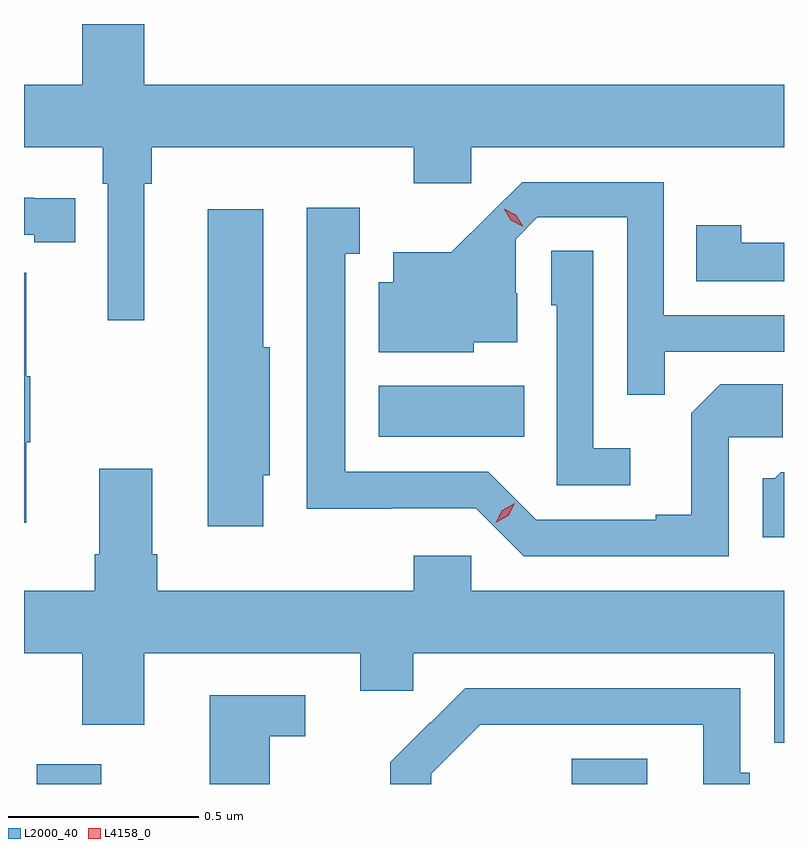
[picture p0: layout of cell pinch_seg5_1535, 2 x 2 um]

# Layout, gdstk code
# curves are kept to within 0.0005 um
import gdstk
lib = gdstk.Library(unit=1e-6, precision=1e-09)
def R(c, l, rs):  # rectangles x0, y0, x1, y1
    for r in rs: c.add(gdstk.rectangle(r[:2], r[2:], *l))
def P(c, l, *ps):  # polygons
    for p in ps: c.add(gdstk.Polygon(p, *l))
L2000_40 = (2000, 40)
L4158_0 = (4158, 0)

pinch_seg5_1535 = lib.new_cell('pinch_seg5_1535')
R(pinch_seg5_1535, L2000_40, [(116.936,893.712,117.106,893.764), (118.344,893.712,118.543,893.778), (117.836,894.626,118.22,894.76)])
P(pinch_seg5_1535, L2000_40, [(117.22,895.292),(117.239,895.292),(117.239,895.388),(117.929,895.388),(117.929,895.293),(118.08,895.293),(118.08,895.388),(118.903,895.388),(118.903,895.552),(117.22,895.552),(117.22,895.712),(117.056,895.712),(117.056,895.552),(116.903,895.552),(116.903,895.388),(117.11,895.388),(117.11,895.292),(117.123,895.292),(117.123,894.933),(117.22,894.933)],
  [(118.589,894.849),(118.903,894.849),(118.903,894.945),(118.587,894.945),(118.587,895.296),(118.214,895.296),(118.027,895.111),(117.875,895.111),(117.875,895.033),(117.836,895.033),(117.836,894.848),(118.086,894.848),(118.086,894.875),(118.201,894.875),(118.201,895.004),(118.197,895.004),(118.197,895.146),(118.254,895.203),(118.491,895.203),(118.491,894.736),(118.589,894.736)],
  [(117.038,895.254),(116.93,895.254),(116.93,895.255),(116.903,895.255),(116.903,895.158),(116.93,895.158),(116.93,895.138),(117.038,895.138)],
  [(118.758,894.624),(118.9,894.624),(118.9,894.764),(118.735,894.764),(118.659,894.688),(118.659,894.421),(118.565,894.421),(118.565,894.408),(118.251,894.408),(118.125,894.534),(117.748,894.534),(117.748,895.107),(117.787,895.107),(117.787,895.228),(117.647,895.228),(117.647,894.437),(117.87,894.437),(117.87,894.438),(118.092,894.438),(118.218,894.312),(118.758,894.312)],
  [(117.532,894.525),(117.55,894.525),(117.55,894.861),(117.532,894.861),(117.532,895.225),(117.386,895.225),(117.386,894.39),(117.532,894.39)],
  [(118.903,895.136),(118.791,895.136),(118.791,895.183),(118.672,895.183),(118.672,895.035),(118.903,895.035)],
  [(118.498,894.595),(118.401,894.595),(118.401,895.115),(118.29,895.115),(118.29,894.972),(118.305,894.972),(118.305,894.498),(118.498,894.498)],
  [(116.909,894.611),(116.92,894.611),(116.92,894.785),(116.909,894.785),(116.909,895.057),(116.903,895.057),(116.903,894.399),(116.909,894.399)],
  [(118.903,894.22),(118.08,894.22),(118.08,894.313),(117.929,894.313),(117.929,894.22),(117.254,894.22),(117.254,894.316),(117.241,894.316),(117.241,894.541),(117.101,894.541),(117.101,894.316),(117.089,894.316),(117.089,894.22),(116.903,894.22),(116.903,894.056),(117.056,894.056),(117.056,893.868),(117.22,893.868),(117.22,894.056),(117.788,894.056),(117.788,893.958),(117.927,893.958),(117.927,894.056),(118.877,894.056),(118.877,893.821),(118.903,893.821)],
  [(118.903,894.532),(118.894,894.532),(118.878,894.516),(118.847,894.516),(118.847,894.362),(118.903,894.362)],
  [(117.975,893.739),(118.104,893.868),(118.691,893.868),(118.691,893.712),(118.813,893.712),(118.813,893.742),(118.788,893.742),(118.788,893.964),(118.064,893.964),(117.973,893.873),(117.972,893.874),(117.867,893.769),(117.867,893.712),(117.975,893.712)],
  [(117.55,893.838),(117.643,893.838),(117.643,893.946),(117.392,893.946),(117.392,893.712),(117.55,893.712)])
P(pinch_seg5_1535, L4158_0, [(118.214,895.18),(118.184,895.196),(118.167,895.225),(118.167,895.226),(118.167,895.226),(118.197,895.21),(118.215,895.181),(118.215,895.18)],
  [(118.145,894.399),(118.145,894.4),(118.162,894.432),(118.194,894.451),(118.194,894.451),(118.194,894.451),(118.177,894.418),(118.145,894.399)])

lib.write_gds('pinch_seg5_1535.gds')
